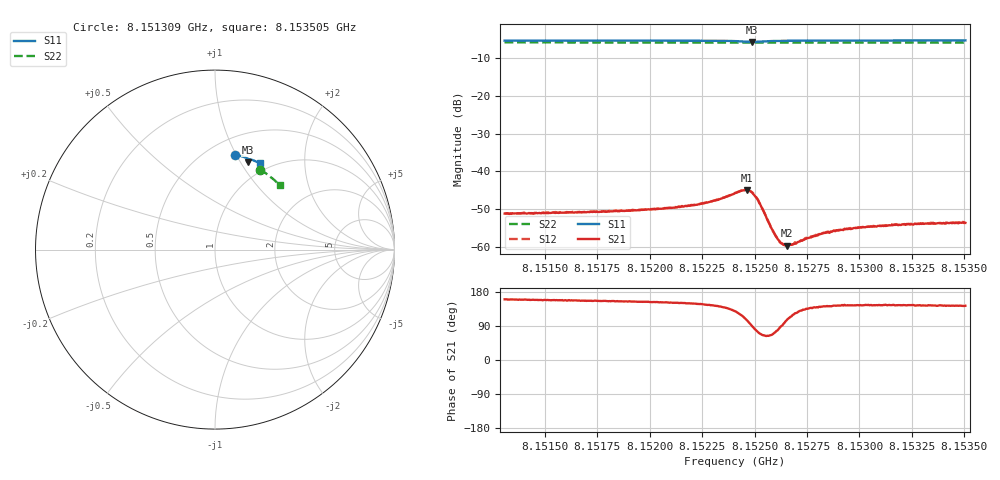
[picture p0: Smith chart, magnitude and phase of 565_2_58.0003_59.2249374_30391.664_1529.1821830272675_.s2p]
#  HZ  S  RI  R  50.00
! Rohde & Schwarz Vector Network Analyzer
! Rohde-Schwarz,ZNB20-2Port,1311601062101988,3.16
! Created: UTC 3/21/2024, 1:15:40 AM
! freq[Hz]  re:S11  im:S11  re:S21  im:S21  re:S12  im:S12  re:S22  im:S22
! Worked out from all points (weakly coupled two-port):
!   401 points, 8.151309 GHz to 8.153505 GHz, reference 50 ohm
!   highest |S21| = -45.02 dB at 8.152462 GHz (marker M1); lowest = -59.8 dB at 8.152654 GHz (marker M2)
!   lowest |S11| = -5.7 dB at 8.152489 GHz (marker M3), VSWR 3.16, Z = 40.3 + j53.7 ohm
!   |S11| at or under -10 dB: nowhere
!   |S22| runs from -5.9 to -5.8 dB; largest |S21 - S12| = 0.00011
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8.1513088e9  0.1113 0.5281  -0.00257 0.000935  -0.00259 0.000972  0.2507 0.4457
8.1516767e9  0.137 0.5225  -0.00263 0.00113  -0.00259 0.00119  0.2707 0.4333
8.1520445e9  0.1629 0.5153  -0.0028 0.00148  -0.00279 0.00151  0.2902 0.4198
8.1521379e9  0.1698 0.513  -0.00293 0.00166  -0.00294 0.00172  0.2951 0.4163
8.1522477e9  0.1784 0.5095  -0.00314 0.00201  -0.0031 0.00205  0.3006 0.4121
8.1523301e9  0.1853 0.505  -0.0033 0.00262  -0.00331 0.0027  0.3047 0.4087
8.1524069e9  0.1912 0.497  -0.0032 0.004  -0.00317 0.00404  0.3086 0.4053
8.1524344e9  0.1914 0.4921  -0.00267 0.00477  -0.00263 0.00483  0.31 0.4043
8.1524618e9  0.1884 0.4875  -0.00152 0.0054  -0.00149 0.00549  0.311 0.403
8.1524893e9  0.1821 0.4863  8.97e-05 0.00517  0.000178 0.00522  0.3121 0.4022
8.1525167e9  0.1777 0.4906  0.00117 0.00395  0.00124 0.00396  0.3132 0.4014
8.1525771e9  0.1815 0.5005  0.000752 0.00166  0.000777 0.00166  0.3164 0.3993
8.1526101e9  0.1856 0.5023  0.000254 0.00123  0.000256 0.00124  0.3183 0.3979
8.152632e9  0.1882 0.5027  -1.77e-05 0.00108  -1.45e-06 0.0011  0.3192 0.3972
8.152654e9  0.1906 0.503  -0.000273 0.000987  -0.000243 0.00101  0.3203 0.3963
8.1526869e9  0.194 0.5028  -0.000549 0.000935  -0.000538 0.000933  0.322 0.395
8.1527748e9  0.2019 0.5012  -0.000981 0.000922  -0.001 0.000931  0.3263 0.3912
8.1528352e9  0.2066 0.5  -0.00119 0.000937  -0.0012 0.000936  0.3293 0.3886
8.1529395e9  0.2143 0.4973  -0.00139 0.001  -0.00137 0.00106  0.3342 0.3842
8.1531427e9  0.2283 0.4917  -0.00158 0.00109  -0.00155 0.00112  0.3438 0.3755
8.1533403e9  0.2413 0.486  -0.00164 0.00118  -0.00166 0.00124  0.3527 0.3666
8.153505e9  0.2517 0.481  -0.00165 0.00124  -0.00166 0.00126  0.36 0.3591
